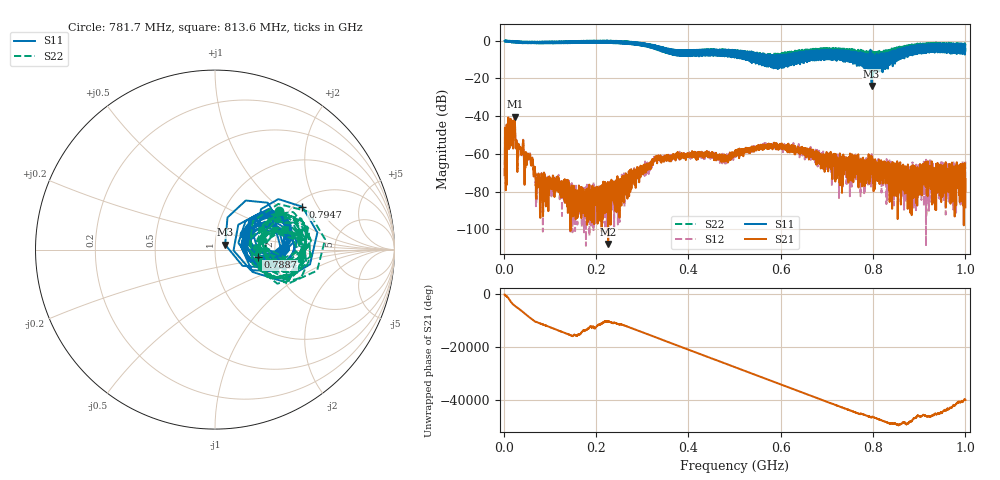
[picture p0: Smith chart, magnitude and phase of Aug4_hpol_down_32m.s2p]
!Keysight Technologies N9923A: A.12.45
!Date: Tuesday, 05 August 2025 18:44:31
!Timezone: (UTC+08:00) Kuala Lumpur, Singapore
!Model: N9923A
!Serial: MY61181427
!GPS Latitude:
!GPS Longitude:
!GPS TimeStamp: 0001-01-01 00:00:00Z
!GPS Seconds Since Last Read: 0
!CHECKSUM:0523907680
!Correction: S11(ON U)S21(ON U)S12(ON U)S22(ON U)
!S2P File: Measurements:S11,S21,S12,S22:
# Hz S DB R 50
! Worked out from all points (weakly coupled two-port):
!   4001 points, 2 MHz to 1 GHz, reference 50 ohm
!   highest |S21| = -40.26 dB at 23.96 MHz (marker M1); lowest = -107.8 dB at 226.3 MHz (marker M2)
!   lowest |S11| = -24.0 dB at 796.9 MHz (marker M3), VSWR 1.13, Z = 55.9 + j3.12 ohm
!   |S11| at or under -10 dB: 575.8168 MHz to 576.6337 MHz (816.9 kHz wide, 0.142 % of centre); 582.5611 MHz to 583.3905 MHz (829.4 kHz wide, 0.142 % of centre); 584.2245 MHz to 585.1061 MHz (881.6 kHz wide, 0.151 % of centre)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
!   |S22| runs from -14.4 to 0.1 dB; largest |S21 - S12| = 0.0011
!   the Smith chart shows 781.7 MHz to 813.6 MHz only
!   S11 on the Smith chart (normalised r, x): 781.7 MHz: 1.36, +0.25; 788.7 MHz: 1.61, -0.14; 794.7 MHz: 2.20, +1.49; 813.6 MHz: 1.38, +0.28
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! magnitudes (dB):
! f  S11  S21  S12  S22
! 2 MHz  -0.1  -71.3  -71.3  -0.1
! 10.23 MHz  -0.2  -45.3  -45.4  -0.1
! 23.96 MHz  -0.9  -40.3  -40.7  -0.9
! 48.66 MHz  -0.6  -62.8  -62.2  -0.6
! 58.89 MHz  -0.8  -65.4  -66.1  -0.8
! 74.85 MHz  -1.0  -74.4  -73.8  -1.0
! 168.4 MHz  -1.2  -81.2  -88.2  -1.0
! 226.3 MHz  -0.1  -107.8  -85.9  -0.1
! 334.8 MHz  -4.0  -62.2  -62.6  -4.6
! 501 MHz  -6.0  -60.1  -60.1  -6.8
! 582.1 MHz  -7.6  -57.6  -55.3  -8.0
! 667.4 MHz  -9.0  -58.6  -58.6  -8.5
! 781.7 MHz  -14.7  -77.0  -79.9  -7.6
! 788.7 MHz  -12.4  -70.5  -68.8  -11.1
! 794.7 MHz  -5.3  -65.0  -63.9  -6.7
! 796.9 MHz  -24.0  -64.7  -68.8  -7.2
! 813.6 MHz  -14.1  -64.6  -68.5  -6.4
! 833.8 MHz  -9.7  -66.0  -79.4  -5.5
! 873.8 MHz  -3.5  -72.2  -70.9  -3.6
! 915.9 MHz  -2.3  -69.7  -70.3  -2.1
! 977.8 MHz  -2.5  -83.2  -65.9  -5.1
! 1 GHz  -2.1  -88.3  -63.1  -2.9
